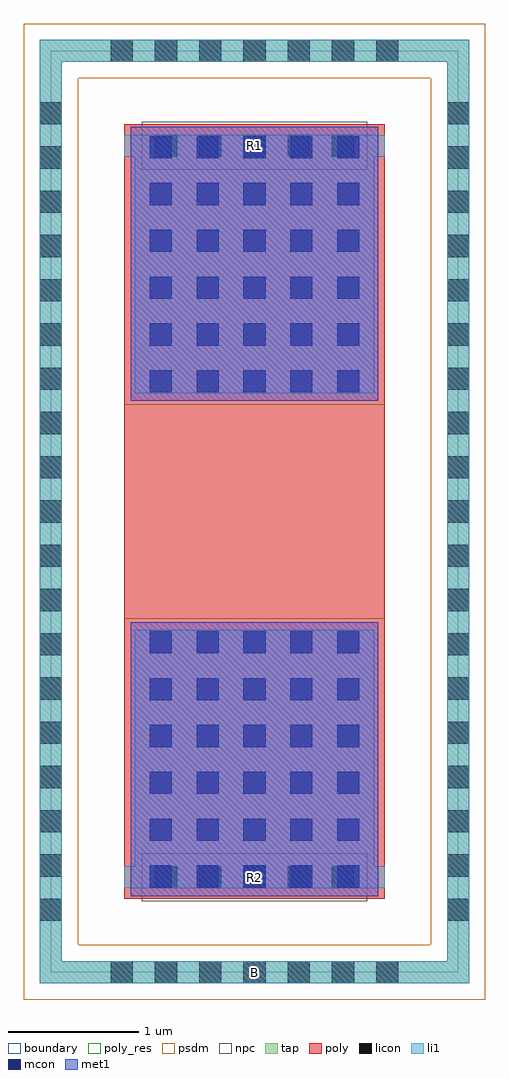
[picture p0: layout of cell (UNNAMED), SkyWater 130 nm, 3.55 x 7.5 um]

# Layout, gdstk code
import gdstk
lib = gdstk.Library(unit=1e-6, precision=1e-09)
def R(c, l, rs):  # rectangles x0, y0, x1, y1
    for r in rs: c.add(gdstk.rectangle(r[:2], r[2:], *l))
def A(c, l, x, y, w, h, nx, ny, dx, dy):  # array of equal rectangles
    R(c, l, [(x+i*dx, y+j*dy, x+i*dx+w, y+j*dy+h) for i in range(nx) for j in range(ny)])
tap = (65, 44)
poly_res = (66, 13)
poly = (66, 20)
licon = (66, 44)
li1 = (67, 20)
mcon = (67, 44)
met1 = (68, 20)
psdm = (94, 20)
npc = (95, 20)
boundary = (235, 4)

c__unnamed_ = lib.new_cell('(UNNAMED)')
R(c__unnamed_, tap, [(-1.65,-3.625,1.65,-3.455), (-1.65,-3.455,-1.48,3.455), (1.48,-3.455,1.65,3.455), (-1.65,3.455,1.65,3.625)])
R(c__unnamed_, poly_res, [(-1,-0.825,1,0.825)])
R(c__unnamed_, poly, [(-1,-2.975,1,2.975)])
A(c__unnamed_, licon, -1.105, -3.625, 0.17, 0.17, 7, 2, 0.34, 7.08)
A(c__unnamed_, licon, -1.65, -3.145, 0.17, 0.17, 1, 19, 0, 0.34)
A(c__unnamed_, licon, 1.48, -3.145, 0.17, 0.17, 1, 19, 0, 0.34)
A(c__unnamed_, licon, -0.765, -2.895, 0.17, 0.17, 5, 2, 0.34, 5.62)
R(c__unnamed_, li1, [(-1.65,-3.625,1.65,-3.455), (-1.65,-3.455,-1.48,3.455), (1.48,-3.455,1.65,3.455), (-1,-2.895,1,-2.725), (-0.92,-2.725,0.92,-0.91), (-0.92,0.91,0.92,2.725), (-1,2.725,1,2.895), (-1.65,3.455,1.65,3.625)])
A(c__unnamed_, mcon, -0.805, -2.89, 0.17, 0.17, 5, 6, 0.36, 0.36)
A(c__unnamed_, mcon, -0.805, 0.915, 0.17, 0.17, 5, 6, 0.36, 0.36)
R(c__unnamed_, met1, [(-0.95,-2.955,0.95,-0.85), (-0.95,0.85,0.95,2.955)])
R(c__unnamed_, psdm, [(-1.775,-3.75,1.775,-3.33), (-1.775,-3.33,-1.355,3.33), (1.355,-3.33,1.775,3.33), (-1.775,3.33,1.775,3.75)])
R(c__unnamed_, npc, [(-0.865,-2.995,0.865,-2.625), (-0.865,2.625,0.865,2.995)])
R(c__unnamed_, boundary, [(-1.565,-3.54,1.565,3.54)])
c__unnamed_.add(gdstk.Label('B', (0,-3.54), layer=67, texttype=5))
c__unnamed_.add(gdstk.Label('R1', (0,2.81), layer=67, texttype=5))
c__unnamed_.add(gdstk.Label('R2', (0,-2.81), layer=67, texttype=5))

lib.write_gds('_UNNAMED_.gds')
